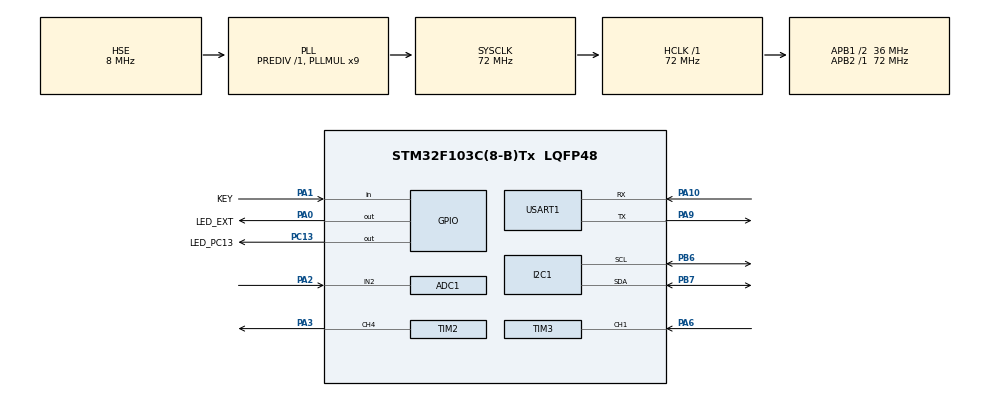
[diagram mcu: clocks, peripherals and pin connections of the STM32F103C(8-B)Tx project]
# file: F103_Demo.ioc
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ADC1.Channel-0\#ChannelRegularConversion=ADC_CHANNEL_2
ADC1.NbrOfConversionFlag=1
ADC1.Rank-0\#ChannelRegularConversion=1
ADC1.SamplingTime-0\#ChannelRegularConversion=ADC_SAMPLETIME_239CYCLES_5
ADC1.master=1
Mcu.Family=STM32F1
Mcu.Name=STM32F103C(8-B)Tx
Mcu.Package=LQFP48
NVIC.PriorityGroup=NVIC_PRIORITYGROUP_4
NVIC.TIM3_IRQn=true\:0\:0\:false\:false\:true\:true\:true\:true
NVIC.USART1_IRQn=true\:0\:0\:false\:false\:true\:true\:true\:true
PA0-WKUP.GPIO_Label=LED_EXT
PA0-WKUP.Signal=GPIO_Output
PA1.GPIO_Label=KEY
PA1.GPIO_PuPd=GPIO_PULLUP
PA1.Signal=GPIO_Input
PA10.Mode=Asynchronous
PA10.Signal=USART1_RX
PA13.Mode=Serial_Wire
PA13.Signal=SYS_JTMS-SWDIO
PA14.Mode=Serial_Wire
PA14.Signal=SYS_JTCK-SWCLK
PA2.Signal=ADCx_IN2
PA3.Signal=S_TIM2_CH4
PA6.Signal=S_TIM3_CH1
PA9.Mode=Asynchronous
PA9.Signal=USART1_TX
PB6.Mode=I2C
PB6.Signal=I2C1_SCL
PB7.Mode=I2C
PB7.Signal=I2C1_SDA
PC13-TAMPER-RTC.GPIO_Label=LED_PC13
PC13-TAMPER-RTC.PinState=GPIO_PIN_RESET
PC13-TAMPER-RTC.Signal=GPIO_Output
PD0-OSC_IN.Mode=HSE-External-Oscillator
PD0-OSC_IN.Signal=RCC_OSC_IN
PD1-OSC_OUT.Mode=HSE-External-Oscillator
PD1-OSC_OUT.Signal=RCC_OSC_OUT
ProjectManager.HeapSize=0x200
ProjectManager.StackSize=0x400
ProjectManager.TargetToolchain=CMake
RCC.ADCPresc=RCC_ADCPCLK2_DIV6
RCC.AHBFreq_Value=72000000
RCC.APB1CLKDivider=RCC_HCLK_DIV2
RCC.APB1Freq_Value=36000000
RCC.APB1TimFreq_Value=72000000
RCC.APB2Freq_Value=72000000
RCC.APB2TimFreq_Value=72000000
RCC.HCLKFreq_Value=72000000
RCC.PLLMUL=RCC_PLL_MUL9
RCC.PLLSourceVirtual=RCC_PLLSOURCE_HSE
RCC.SYSCLKFreq_VALUE=72000000
RCC.SYSCLKSource=RCC_SYSCLKSOURCE_PLLCLK
RCC.USBFreq_Value=72000000
SH.ADCx_IN2.0=ADC1_IN2,IN2
SH.S_TIM2_CH4.0=TIM2_CH4,PWM Generation4 CH4
SH.S_TIM3_CH1.0=TIM3_CH1,Input_Capture1_from_TI1
TIM2.AutoReloadPreload=TIM_AUTORELOAD_PRELOAD_ENABLE
TIM2.Channel-PWM\ Generation4\ CH4=TIM_CHANNEL_4
TIM2.Period=199
TIM2.Prescaler=71
TIM2.Pulse-PWM\ Generation4\ CH4=100
TIM3.Channel-Input_Capture1_from_TI1=TIM_CHANNEL_1
TIM3.Prescaler=71
USART1.VirtualMode=VM_ASYNC
VP_TIM2_VS_ClockSourceINT.Mode=Internal
VP_TIM3_VS_ClockSourceINT.Mode=Internal
board=custom

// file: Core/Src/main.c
/* USER CODE BEGIN Header */
/**
  ******************************************************************************
  * @file           : main.c
  * @brief          : Main program body
  ******************************************************************************
  * @attention
  *
  * Copyright (c) 2026 STMicroelectronics.
  * All rights reserved.
  *
  * This software is licensed under terms that can be found in the LICENSE file
  * in the root directory of this software component.
  * If no LICENSE file comes with this software, it is provided AS-IS.
  *
  ******************************************************************************
  */
/* USER CODE END Header */
#include "main.h"
#include "adc.h"
#include "i2c.h"
#include "tim.h"
#include "usart.h"
#include "gpio.h"

/* USER CODE BEGIN Includes */
#include <stdio.h>
#include <string.h>
#include <stdlib.h>
#include "ssd1306.h"
#include "mpu6050.h"
/* USER CODE END Includes */

/* USER CODE BEGIN PD */
// 按键消抖时间戳，记录上次按键触发的毫秒数
uint32_t key_last_time = 0;
// 外接LED状态标志：0=熄灭，1=点亮
uint8_t led_ext_state = 0;
// ADC采集的实际电压值，单位V
float adc_voltage = 0.0f;
// ========== TIM3输入捕获相关变量 ==========
uint8_t capture_state = 0;      // 捕获状态：0=等第一个上升沿，1=等下降沿，2=等第二个上升沿
uint32_t capture_buf[3] = {0};  // 存3次捕获的计数值
uint32_t pwm_period = 0;        // 测量得到的周期，单位微秒
uint32_t pwm_high_time = 0;     // 测量得到的高电平时间，单位微秒
float pwm_measure_freq = 0;     // 测量得到的频率，单位Hz
float pwm_measure_duty = 0;     // 测量得到的占空比，单位%
// ========== 串口相关变量 ==========
uint8_t uart_rx_buf[1];      // 单字节接收缓冲区
uint8_t uart_cmd_buf[32];    // 指令缓冲区，存完整的一行指令
uint8_t uart_cmd_len = 0;    // 当前指令长度
uint8_t uart_cmd_flag = 0;   // 指令完成标志：1=收到完整指令，可以处理
// ========== PWM设定值（f1/D1，串口指令可修改） ==========
uint8_t pwm_freq_set = 5;    // PWM输出频率设定，单位kHz，初始5
uint8_t pwm_duty_set = 50;   // PWM占空比设定，单位%，初始50
// ========== MPU6050数据 ==========
uint8_t mpu_ok = 0;          // MPU6050初始化成功标志：1=正常
float mpu_ax = 0, mpu_ay = 0, mpu_az = 0;   // 加速度，单位g
float mpu_gx = 0, mpu_gy = 0, mpu_gz = 0;   // 角速度，单位°/s
uint32_t last_capture_tick = 0;  // 最近一次完成捕获的时间戳，用于判断有无信号
// ========== 学号（验收前请改成自己的真实学号） ==========
#define STUDENT_ID  "202500201111"
/* USER CODE END PD */

/* USER CODE BEGIN PV */
// 非阻塞时间片：各任务上次执行的时间戳
uint32_t tick_led = 0;       // 板载LED翻转
uint32_t tick_adc = 0;       // ADC采样
uint32_t tick_mpu = 0;       // MPU6050读取
uint32_t tick_oled = 0;      // OLED刷新
uint32_t tick_report = 0;    // 串口六轴上报
uint8_t  key_last_level = 1; // 按键上次电平，用于检测"按下沿"
/* USER CODE END PV */

void SystemClock_Config(void);

/* USER CODE BEGIN 0 */
// ========== PWM参数动态设置（TIM2_CH4，计数时钟1MHz，PSC固定71） ==========
// 各频率对应的ARR（自动重装载值）：f = 1MHz/(ARR+1)
// F1->999(1k) F2->499(2k) F3->333(2.994k) F4->249(4k) F5->199(5k)
static const uint32_t pwm_arr_table[6] = {0, 999, 499, 333, 249, 199};

// 设置PWM输出频率（单位kHz，1~5），同时按当前占空比重算CCR，占空比保持不变
void PWM_SetFreqKHz(uint8_t f_khz)
{
    uint32_t arr = pwm_arr_table[f_khz];
    uint32_t ccr = (arr + 1) * pwm_duty_set / 100U;
    __HAL_TIM_SET_AUTORELOAD(&htim2, arr);          // ARR有预装载，下个更新事件生效
    __HAL_TIM_SET_COMPARE(&htim2, TIM_CHANNEL_4, ccr);
}

// 设置PWM占空比（单位%），按当前ARR重算CCR，频率保持不变
void PWM_SetDutyPercent(uint8_t duty)
{
    uint32_t arr = __HAL_TIM_GET_AUTORELOAD(&htim2);
    uint32_t ccr = (arr + 1) * duty / 100U;
    __HAL_TIM_SET_COMPARE(&htim2, TIM_CHANNEL_4, ccr);
}

// TIM输入捕获中断回调函数：捕获到边沿时自动调用
void HAL_TIM_IC_CaptureCallback(TIM_HandleTypeDef *htim)
{
    // 判断是不是TIM3的通道1触发的中断
    if(htim->Instance == TIM3 && htim->Channel == HAL_TIM_ACTIVE_CHANNEL_1)
    {
        switch(capture_state)
        {
            case 0: // 状态0：第一次捕获到上升沿
                // 记录第一个上升沿的计数值
                capture_buf[0] = HAL_TIM_ReadCapturedValue(htim, TIM_CHANNEL_1);
                // 切换成下降沿捕获，下次抓下降沿
                __HAL_TIM_SET_CAPTUREPOLARITY(htim, TIM_CHANNEL_1, TIM_INPUTCHANNELPOLARITY_FALLING);
                // 状态切换到1
                capture_state = 1;
                break;

            case 1: // 状态1：捕获到下降沿
                // 记录下降沿的计数值
                capture_buf[1] = HAL_TIM_ReadCapturedValue(htim, TIM_CHANNEL_1);
                // 切换成上升沿捕获，下次抓第二个上升沿
                __HAL_TIM_SET_CAPTUREPOLARITY(htim, TIM_CHANNEL_1, TIM_INPUTCHANNELPOLARITY_RISING);
                // 状态切换到2
                capture_state = 2;
                break;

            case 2: // 状态2：捕获到第二个上升沿，一个完整周期
                // 记录第二个上升沿的计数值
                capture_buf[2] = HAL_TIM_ReadCapturedValue(htim, TIM_CHANNEL_1);

                // 软件计算：算出周期和高电平时间
                pwm_period = capture_buf[2] - capture_buf[0];
                pwm_high_time = capture_buf[1] - capture_buf[0];

                // 算出频率和占空比
                pwm_measure_freq = 1000000.0f / pwm_period;
                pwm_measure_duty = (float)pwm_high_time / pwm_period * 100.0f;

                // 记录本次成功测量的时间，供主循环判断信号是否在线
                last_capture_tick = HAL_GetTick();

                // 状态重置为0，开始下一轮测量
                capture_state = 0;
                break;
        }
    }
}
// 串口接收中断回调函数：收到一个字节就自动调用
void HAL_UART_RxCpltCallback(UART_HandleTypeDef *huart)
{
    // 判断是不是串口1触发的中断
    if(huart->Instance == USART1)
    {
        uint8_t ch = uart_rx_buf[0];

        if(ch == '\n') // 收到换行符，一行指令结束
        {
            uart_cmd_buf[uart_cmd_len] = '\0'; // 补字符串结束符，供atoi/strncmp使用
            uart_cmd_flag = 1;                 // 置指令完成标志
        }
        else if(ch != '\r') // 过滤回车符'\r'（串口助手常发 \r\n）
        {
            if(uart_cmd_len < 31) // 留1个位置给结束符
            {
                uart_cmd_buf[uart_cmd_len] = ch;
                uart_cmd_len++;
            }
            else // 超长直接丢弃本行，重新开始
            {
                uart_cmd_len = 0;
            }
        }

        // 重新开启下一次接收中断，准备收下一个字节
        HAL_UART_Receive_IT(&huart1, uart_rx_buf, 1);
    }
}

// 串口错误回调：发生溢出(ORE)等错误时自动重启接收，避免接收永久停摆
void HAL_UART_ErrorCallback(UART_HandleTypeDef *huart)
{
    if(huart->Instance == USART1)
    {
        uart_cmd_len = 0;
        HAL_UART_Receive_IT(&huart1, uart_rx_buf, 1);
    }
}

/* USER CODE END 0 */

int main(void)
{

  /* MCU Configuration--------------------------------------------------------*/

  /* Reset of all peripherals, Initializes the Flash interface and the Systick. */
  HAL_Init();

  /* Configure the system clock */
  SystemClock_Config();

  /* Initialize all configured peripherals */
  MX_GPIO_Init();
  MX_ADC1_Init();
  MX_I2C1_Init();
  MX_TIM2_Init();
  MX_TIM3_Init();
  MX_USART1_UART_Init();
  /* USER CODE BEGIN 2 */
  // 0. 外接LED初始置高（低电平点亮），与 led_ext_state=0(灭) 状态对齐
  HAL_GPIO_WritePin(LED_EXT_GPIO_Port, LED_EXT_Pin, GPIO_PIN_SET);

  // 1. 启动TIM2通道4的PWM输出，硬件自动循环输出方波
  HAL_TIM_PWM_Start(&htim2, TIM_CHANNEL_4);
  // 2. 启动TIM3通道1的输入捕获中断，边沿到来自动触发
  HAL_TIM_IC_Start_IT(&htim3, TIM_CHANNEL_1);
  // 3. 启动串口1接收中断，收到一个字节就触发
  HAL_UART_Receive_IT(&huart1, uart_rx_buf, 1);

  // 4. 上电串口逻辑：依次发送 "STM32 Init OK!" 和学号
  {
      const char *init_msg = "STM32 Init OK！\r\n";
      HAL_UART_Transmit(&huart1, (uint8_t*)init_msg,
                        (uint16_t)strlen(init_msg), 100U);
  }
  HAL_UART_Transmit(&huart1, (uint8_t*)STUDENT_ID "\r\n",
                    (uint16_t)(strlen(STUDENT_ID) + 2U), 100U);

  // 5. MPU6050初始化（返回0成功）
  mpu_ok = (MPU6050_Init() == 0U) ? 1U : 0U;

  // 6. OLED初始化
  OLED_Init();
  /* USER CODE END 2 */

  /* Infinite loop */
  /* USER CODE BEGIN WHILE */
  while (1)
  {
        uint32_t now = HAL_GetTick();   // 当前毫秒时间戳，所有任务共用

        // ========== 任务1：板载PC13 LED，每1000ms翻转一次（2s周期闪烁） ==========
        if(now - tick_led >= 1000U)
        {
            tick_led = now;
            HAL_GPIO_TogglePin(LED_PC13_GPIO_Port, LED_PC13_Pin);
        }

        // ========== 任务2：按键"按下沿"检测，按一次切换外接LED亮灭 ==========
        {
            uint8_t key_level = HAL_GPIO_ReadPin(KEY_GPIO_Port, KEY_Pin);
            // 只在电平从高(松开)变低(按下)的瞬间动作，按住不会连发
            if(key_last_level == 1U && key_level == 0U)
            {
                if(now - key_last_time > 200U)  // 200ms消抖
                {
                    key_last_time = now;
                    led_ext_state = !led_ext_state;
                    // 低电平点亮、高电平熄灭
                    HAL_GPIO_WritePin(LED_EXT_GPIO_Port, LED_EXT_Pin,
                                      led_ext_state ? GPIO_PIN_RESET : GPIO_PIN_SET);
                }
            }
            key_last_level = key_level;
        }

        // ========== 任务3：ADC每200ms采集一次电位器电压U1 ==========
        if(now - tick_adc >= 200U)
        {
            uint16_t adc_raw_value;
            tick_adc = now;
            HAL_ADC_Start(&hadc1);                              // 启动单次转换
            HAL_ADC_PollForConversion(&hadc1, 10U);             // 等待完成
            adc_raw_value = HAL_ADC_GetValue(&hadc1);           // 读0~4095原始值
            adc_voltage = (float)adc_raw_value * 3.3f / 4095.0f; // 换算为电压
        }

        // ========== 任务4：串口指令解析（FX设频率 / DY设占空比） ==========
        if(uart_cmd_flag == 1U)
        {
            char reply[24];

            if(uart_cmd_buf[0] == 'F')          // F1~F5：设置频率kHz
            {
                int f = atoi((char*)&uart_cmd_buf[1]);
                if(f >= 1 && f <= 5)
                {
                    pwm_freq_set = (uint8_t)f;
                    PWM_SetFreqKHz(pwm_freq_set);
                    sprintf(reply, "OK F%d\r\n", f);
                }
                else
                {
                    sprintf(reply, "ERR F(1-5)\r\n");
                }
                HAL_UART_Transmit(&huart1, (uint8_t*)reply, strlen(reply), 100U);
            }
            else if(uart_cmd_buf[0] == 'D')     // D10~D90：设置占空比%
            {
                int d = atoi((char*)&uart_cmd_buf[1]);
                if(d >= 10 && d <= 90 && (d % 10) == 0)
                {
                    pwm_duty_set = (uint8_t)d;
                    PWM_SetDutyPercent(pwm_duty_set);
                    sprintf(reply, "OK D%d\r\n", d);
                }
                else
                {
                    sprintf(reply, "ERR D(10-90)\r\n");
                }
                HAL_UART_Transmit(&huart1, (uint8_t*)reply, strlen(reply), 100U);
            }
            else
            {
                const char *err_msg = "ERR CMD\r\n";
                HAL_UART_Transmit(&huart1, (uint8_t*)err_msg,
                                  (uint16_t)strlen(err_msg), 100U);
            }

            // 处理完毕，清空缓冲区与标志
            uart_cmd_len = 0;
            uart_cmd_flag = 0;
            memset(uart_cmd_buf, 0, sizeof(uart_cmd_buf));
        }

        // ========== 任务5：MPU6050每100ms读取一次六轴数据 ==========
        if(mpu_ok == 1U && now - tick_mpu >= 100U)
        {
            tick_mpu = now;
            MPU6050_ReadAll(&mpu_ax, &mpu_ay, &mpu_az,
                            &mpu_gx, &mpu_gy, &mpu_gz);
        }

        // ========== 任务6：每1000ms串口上报一次六轴数据 ==========
        if(now - tick_report >= 1000U)
        {
            char report_buf[96];
            tick_report = now;
            sprintf(report_buf,
                    "ax:%.2f ay:%.2f az:%.2f gx:%.1f gy:%.1f gz:%.1f\r\n",
                    mpu_ax, mpu_ay, mpu_az, mpu_gx, mpu_gy, mpu_gz);
            HAL_UART_Transmit(&huart1, (uint8_t*)report_buf,
                              (uint16_t)strlen(report_buf), 100U);
        }

        // ========== 任务7：OLED每300ms刷新一次 ==========
        if(now - tick_oled >= 300U)
        {
            tick_oled = now;
            OLED_Clear();

            // 基本要求4项参数
            OLED_Printf(0, 0, "U1:%.2fV", adc_voltage);
            OLED_Printf(0, 1, "f1:%dkHz", pwm_freq_set);
            OLED_Printf(0, 2, "D1:%d%%", pwm_duty_set);

            // 500ms内有成功测量才显示f2/D2，否则提示无信号
            if(now - last_capture_tick < 500U && pwm_period > 0U)
            {
                OLED_Printf(0, 3, "f2:%.1fkHz", pwm_measure_freq / 1000.0f);
                OLED_Printf(0, 4, "D2:%.1f%%", pwm_measure_duty);
            }
            else
            {
                OLED_Printf(0, 3, "f2:--");
                OLED_Printf(0, 4, "D2:--");
            }

            // 六轴数据同步上屏（a=加速度g，g=角速度°/s）
            if(mpu_ok == 1U)
            {
                OLED_Printf(0, 5, "a %.2f %.2f %.2f", mpu_ax, mpu_ay, mpu_az);
                OLED_Printf(0, 6, "g %.0f %.0f %.0f", mpu_gx, mpu_gy, mpu_gz);
            }

            OLED_Update();
        }
    /* USER CODE END WHILE */

  }
}

void SystemClock_Config(void)
{
  RCC_OscInitTypeDef RCC_OscInitStruct = {0};
  RCC_ClkInitTypeDef RCC_ClkInitStruct = {0};
  RCC_PeriphCLKInitTypeDef PeriphClkInit = {0};

  /** Initializes the RCC Oscillators according to the specified parameters
  * in the RCC_OscInitTypeDef structure.
  */
  RCC_OscInitStruct.OscillatorType = RCC_OSCILLATORTYPE_HSE;
  RCC_OscInitStruct.HSEState = RCC_HSE_ON;
  RCC_OscInitStruct.HSEPredivValue = RCC_HSE_PREDIV_DIV1;
  RCC_OscInitStruct.HSIState = RCC_HSI_ON;
  RCC_OscInitStruct.PLL.PLLState = RCC_PLL_ON;
  RCC_OscInitStruct.PLL.PLLSource = RCC_PLLSOURCE_HSE;
  RCC_OscInitStruct.PLL.PLLMUL = RCC_PLL_MUL9;
  if (HAL_RCC_OscConfig(&RCC_OscInitStruct) != HAL_OK)
  {
    Error_Handler();
  }

  /** Initializes the CPU, AHB and APB buses clocks
  */
  RCC_ClkInitStruct.ClockType = RCC_CLOCKTYPE_HCLK|RCC_CLOCKTYPE_SYSCLK
                              |RCC_CLOCKTYPE_PCLK1|RCC_CLOCKTYPE_PCLK2;
  RCC_ClkInitStruct.SYSCLKSource = RCC_SYSCLKSOURCE_PLLCLK;
  RCC_ClkInitStruct.AHBCLKDivider = RCC_SYSCLK_DIV1;
  RCC_ClkInitStruct.APB1CLKDivider = RCC_HCLK_DIV2;
  RCC_ClkInitStruct.APB2CLKDivider = RCC_HCLK_DIV1;

  if (HAL_RCC_ClockConfig(&RCC_ClkInitStruct, FLASH_LATENCY_2) != HAL_OK)
  {
    Error_Handler();
  }
  PeriphClkInit.PeriphClockSelection = RCC_PERIPHCLK_ADC;
  PeriphClkInit.AdcClockSelection = RCC_ADCPCLK2_DIV6;
  if (HAL_RCCEx_PeriphCLKConfig(&PeriphClkInit) != HAL_OK)
  {
    Error_Handler();
  }
}

void Error_Handler(void)
{
  __disable_irq();
  while (1)
  {
  }
}
